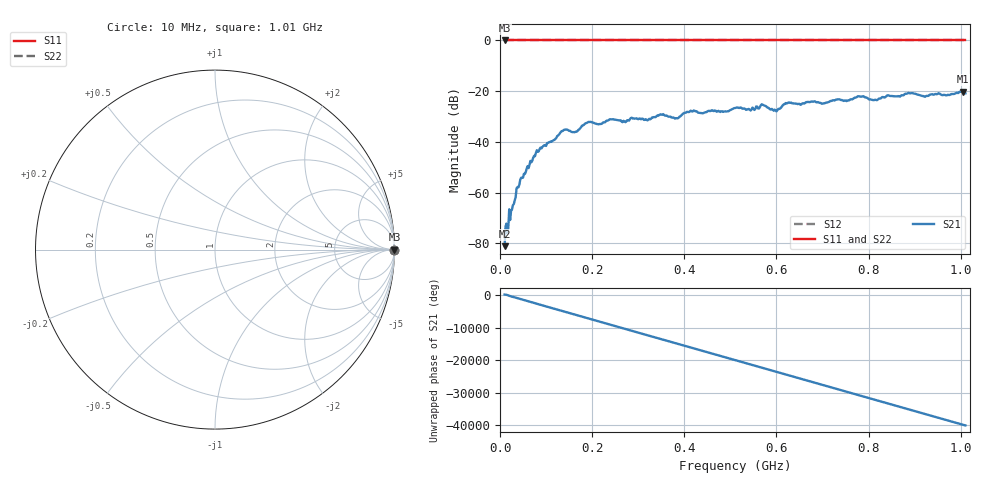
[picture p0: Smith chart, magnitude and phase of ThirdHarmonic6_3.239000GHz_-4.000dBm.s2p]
! 8/17/2025 9:56:10 AM
! C:\ANRITSUVNA\TEMP\TEMP.S2P
! CHANNEL.1
! TR.MEASUREMENT
! RAW.DATA
! RF.CORRECTION.OFF
! AVERAGING.OFF
! IF.BANDWIDTH: 5KHZ
! SWEEPTYPE:  FREQ.SWEEP(Linear)
! Reference Plane Port Info
! PORT:  PORT1  PORT2
! DISTANCE:  0  m  0  m
! TIME:  0  s  0  s
! PHASE.OFFSET:  0  deg.  0  deg.
! LOSS:  0  dB  0  dB
! REF.LOSS:  0  dB  0  dB
! REF.FREQ:  0  Hz  0  Hz
! Power Info
! POWER:  -20  dBm  -20  dBm
! EFF.POWER:  -20  dBm  -20  dBm
! SOURCE.ATTEN:  0  dB  0  dB
! TEST.ATTEN:  0  dB  0  dB
# GHZ S RI R 50.0
! FREQ.GHZ  S11RE  S11IM  S21RE  S21IM  S12RE  S12IM  S22RE  S22IM
!; PortSelection: Port_12
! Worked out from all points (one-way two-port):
!   501 points, 10 MHz to 1.01 GHz, reference 50 ohm
!   highest |S21| = -20.14 dB at 1.004 GHz (marker M1); lowest = -81.1 dB at 10 MHz (marker M2)
!   lowest |S11| = 0.0 dB at 10 MHz (marker M3)
!   |S11| at or under -10 dB: nowhere
!   |S22| runs from 0.0 to 0.0 dB; largest |S21 - S12| = 1.1
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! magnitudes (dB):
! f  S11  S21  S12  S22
! 10 MHz  0.0  -81.1  0.0  0.0
! 40 MHz  0.0  -57.9  0.0  0.0
! 76 MHz  0.0  -45.6  0.0  0.0
! 136 MHz  0.0  -35.7  0.0  0.0
! 164 MHz  0.0  -36.0  0.0  0.0
! 178 MHz  0.0  -33.6  0.0  0.0
! 194 MHz  0.0  -32.2  0.0  0.0
! 318 MHz  0.0  -31.3  0.0  0.0
! 344 MHz  0.0  -29.6  0.0  0.0
! 384 MHz  0.0  -30.6  0.0  0.0
! 410 MHz  0.0  -28.3  0.0  0.0
! 510 MHz  0.0  -26.7  0.0  0.0
! 542 MHz  0.0  -27.3  0.0  0.0
! 570 MHz  0.0  -25.3  0.0  0.0
! 598 MHz  0.0  -27.6  0.0  0.0
! 624 MHz  0.0  -24.7  0.0  0.0
! 678 MHz  0.0  -24.1  0.0  0.0
! 780 MHz  0.0  -22.0  0.0  0.0
! 814 MHz  0.0  -23.4  0.0  0.0
! 844 MHz  0.0  -21.8  0.0  0.0
! 1.004 GHz  0.0  -20.1  0.0  0.0
! 1.01 GHz  0.0  -20.8  0.0  0.0
